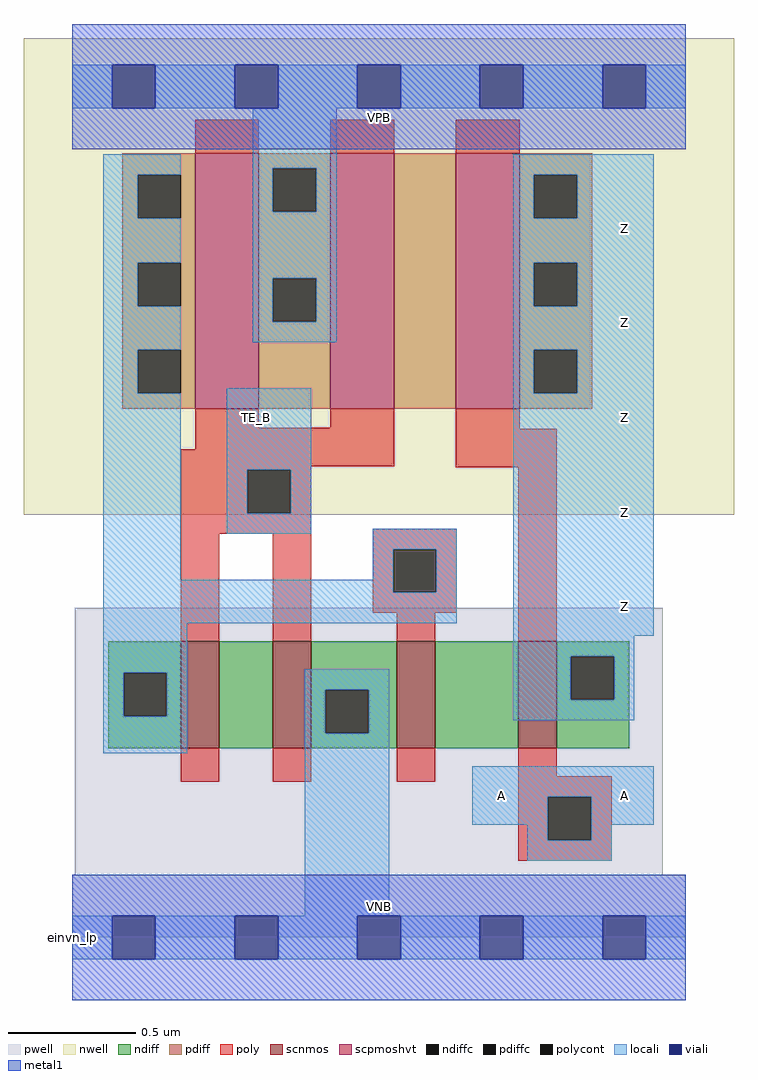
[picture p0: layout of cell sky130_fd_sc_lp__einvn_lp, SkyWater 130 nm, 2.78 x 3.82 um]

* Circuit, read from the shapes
.subckt sky130_fd_sc_lp__einvn_lp A TE_B VGND VNB VPB VPWR Z
XM1 n1 TE_B n2 VNB sky130_fd_pr__nfet_01v8 w=0.42 l=0.15
XM2 VGND TE_B n1 VNB sky130_fd_pr__nfet_01v8 w=0.42 l=0.15
XM3 n3 n2 VGND VNB sky130_fd_pr__nfet_01v8 w=0.42 l=0.15
XM4 Z A n3 VNB sky130_fd_pr__nfet_01v8 w=0.42 l=0.15
XM5 VPWR TE_B n2 VPB sky130_fd_pr__pfet_01v8_hvt w=1 l=0.25
XM6 n4 TE_B VPWR VPB sky130_fd_pr__pfet_01v8_hvt w=1 l=0.25
XM7 Z A n4 VPB sky130_fd_pr__pfet_01v8_hvt w=1 l=0.25
.ends

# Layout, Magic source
magic
tech sky130A
magscale 1 2
<< nwell >>
rect -38 331 518 704
<< pwell >>
rect 2 49 462 258
rect 0 0 480 49
<< scnmos >>
rect 85 148 115 232
rect 157 148 187 232
rect 254 148 284 232
rect 349 148 379 232
<< scpmoshvt >>
rect 96 414 146 614
rect 202 414 252 614
rect 300 414 350 614
<< ndiff >>
rect 28 207 85 232
rect 28 173 40 207
rect 74 173 85 207
rect 28 148 85 173
rect 115 148 157 232
rect 187 194 254 232
rect 187 160 198 194
rect 232 160 254 194
rect 187 148 254 160
rect 284 148 349 232
rect 379 220 436 232
rect 379 186 390 220
rect 424 186 436 220
rect 379 148 436 186
<< pdiff >>
rect 39 597 96 614
rect 39 563 51 597
rect 85 563 96 597
rect 39 528 96 563
rect 39 494 51 528
rect 85 494 96 528
rect 39 460 96 494
rect 39 426 51 460
rect 85 426 96 460
rect 39 414 96 426
rect 146 602 202 614
rect 146 568 157 602
rect 191 568 202 602
rect 146 516 202 568
rect 146 482 157 516
rect 191 482 202 516
rect 146 414 202 482
rect 252 414 300 614
rect 350 597 407 614
rect 350 563 361 597
rect 395 563 407 597
rect 350 528 407 563
rect 350 494 361 528
rect 395 494 407 528
rect 350 460 407 494
rect 350 426 361 460
rect 395 426 407 460
rect 350 414 407 426
<< ndiffc >>
rect 40 173 74 207
rect 198 160 232 194
rect 390 186 424 220
<< pdiffc >>
rect 51 563 85 597
rect 51 494 85 528
rect 51 426 85 460
rect 157 568 191 602
rect 157 482 191 516
rect 361 563 395 597
rect 361 494 395 528
rect 361 426 395 460
<< poly >>
rect 96 614 146 640
rect 202 614 252 640
rect 300 614 350 640
rect 96 399 146 414
rect 202 399 252 414
rect 96 382 252 399
rect 85 369 252 382
rect 300 398 350 414
rect 85 366 187 369
rect 300 368 379 398
rect 85 332 137 366
rect 171 332 187 366
rect 85 316 187 332
rect 85 232 115 316
rect 157 232 187 316
rect 235 304 301 320
rect 235 270 251 304
rect 285 270 301 304
rect 235 254 301 270
rect 254 232 284 254
rect 349 232 379 368
rect 85 122 115 148
rect 157 122 187 148
rect 254 122 284 148
rect 349 126 379 148
rect 349 110 422 126
rect 349 76 372 110
rect 406 76 422 110
rect 349 60 422 76
<< polycont >>
rect 137 332 171 366
rect 251 270 285 304
rect 372 76 406 110
<< locali >>
rect 0 649 31 683
rect 65 649 127 683
rect 161 649 223 683
rect 257 649 319 683
rect 353 649 415 683
rect 449 649 480 683
rect 24 597 85 613
rect 24 563 51 597
rect 24 528 85 563
rect 24 494 51 528
rect 24 460 85 494
rect 141 602 207 649
rect 141 568 157 602
rect 191 568 207 602
rect 141 516 207 568
rect 141 482 157 516
rect 191 482 207 516
rect 141 466 207 482
rect 345 597 455 613
rect 345 563 361 597
rect 395 563 455 597
rect 345 528 455 563
rect 345 494 361 528
rect 395 494 455 528
rect 24 426 51 460
rect 345 460 455 494
rect 24 280 85 426
rect 121 366 187 430
rect 121 332 137 366
rect 171 332 187 366
rect 121 316 187 332
rect 345 426 361 460
rect 395 426 455 460
rect 235 304 301 320
rect 235 280 251 304
rect 24 270 251 280
rect 285 270 301 304
rect 24 246 301 270
rect 24 207 90 246
rect 345 236 455 426
rect 345 220 440 236
rect 24 173 40 207
rect 74 173 90 207
rect 24 144 90 173
rect 182 194 248 210
rect 182 160 198 194
rect 232 160 248 194
rect 345 186 390 220
rect 424 186 440 220
rect 345 170 440 186
rect 182 17 248 160
rect 313 110 455 134
rect 313 88 372 110
rect 356 76 372 88
rect 406 88 455 110
rect 406 76 422 88
rect 356 60 422 76
rect 0 -17 31 17
rect 65 -17 127 17
rect 161 -17 223 17
rect 257 -17 319 17
rect 353 -17 415 17
rect 449 -17 480 17
<< viali >>
rect 31 649 65 683
rect 127 649 161 683
rect 223 649 257 683
rect 319 649 353 683
rect 415 649 449 683
rect 31 -17 65 17
rect 127 -17 161 17
rect 223 -17 257 17
rect 319 -17 353 17
rect 415 -17 449 17
<< metal1 >>
rect 0 683 480 715
rect 0 649 31 683
rect 65 649 127 683
rect 161 649 223 683
rect 257 649 319 683
rect 353 649 415 683
rect 449 649 480 683
rect 0 617 480 649
rect 0 17 480 49
rect 0 -17 31 17
rect 65 -17 127 17
rect 161 -17 223 17
rect 257 -17 319 17
rect 353 -17 415 17
rect 449 -17 480 17
rect 0 -49 480 -17
<< labels >>
flabel pwell s 0 0 480 49 0 FreeSans 200 0 0 0 VNB
port 4 nsew ground bidirectional
flabel nwell s 0 617 480 666 0 FreeSans 200 0 0 0 VPB
port 5 nsew power bidirectional
rlabel comment s 0 0 0 0 4 einvn_lp
flabel metal1 s 0 617 480 666 0 FreeSans 340 0 0 0 VPWR
port 6 nsew power bidirectional
flabel metal1 s 0 0 480 49 0 FreeSans 340 0 0 0 VGND
port 3 nsew ground bidirectional
flabel locali s 127 390 161 424 0 FreeSans 340 0 0 0 TE_B
port 2 nsew signal input
flabel locali s 319 94 353 128 0 FreeSans 340 0 0 0 A
port 1 nsew signal input
flabel locali s 415 94 449 128 0 FreeSans 340 0 0 0 A
port 1 nsew signal input
flabel locali s 415 242 449 276 0 FreeSans 340 0 0 0 Z
port 7 nsew signal output
flabel locali s 415 316 449 350 0 FreeSans 340 0 0 0 Z
port 7 nsew signal output
flabel locali s 415 390 449 424 0 FreeSans 340 0 0 0 Z
port 7 nsew signal output
flabel locali s 415 464 449 498 0 FreeSans 340 0 0 0 Z
port 7 nsew signal output
flabel locali s 415 538 449 572 0 FreeSans 340 0 0 0 Z
port 7 nsew signal output
<< properties >>
string LEFsite unit
string LEFclass CORE
string FIXED_BBOX 0 0 480 666
string GDS_FILE $PDKPATH/libs.ref/sky130_fd_sc_lp/gds/sky130_fd_sc_lp.gds
string LEFsymmetry X Y R90
string GDS_END 4202154
string GDS_START 4197274
<< end >>
